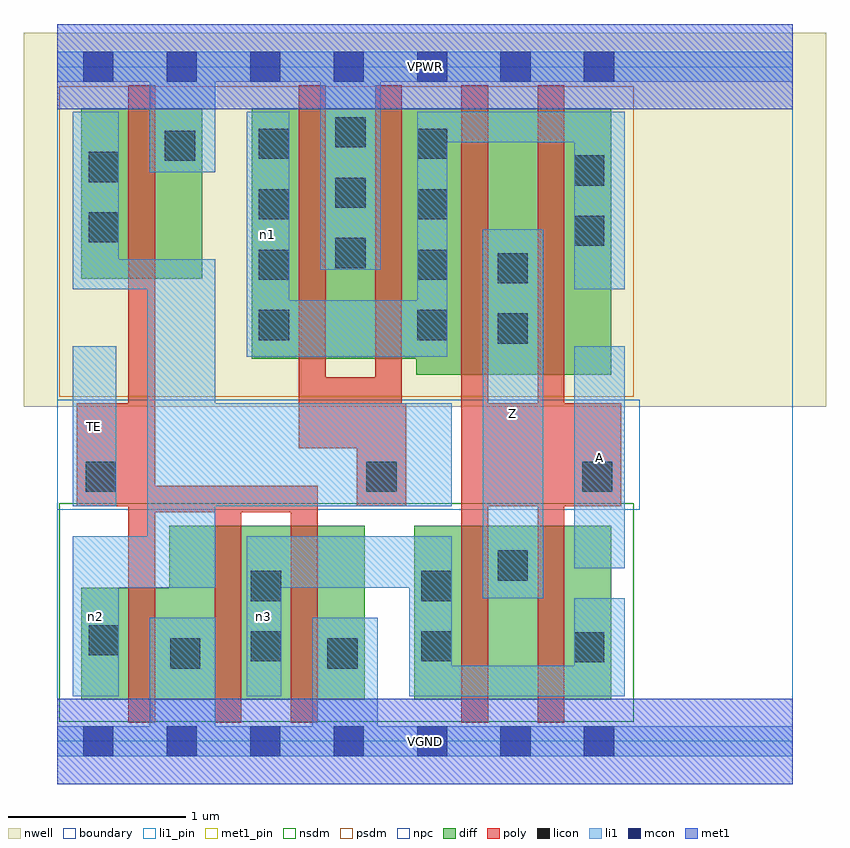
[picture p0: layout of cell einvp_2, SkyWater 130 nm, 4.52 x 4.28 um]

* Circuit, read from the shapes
.subckt einvp_2 A TE VGND VPWR Z n1 n2 n3
XM1 VGND TE n2 VSUBS sky130_fd_pr__nfet_01v8 w=0.63 l=0.15
XM2 n3 TE VGND VSUBS sky130_fd_pr__nfet_01v8 w=0.98 l=0.15 m=2
XM3 Z A n3 VSUBS sky130_fd_pr__nfet_01v8 w=0.98 l=0.15 m=2
XM4 VPWR TE n2 n4 sky130_fd_pr__pfet_01v8 w=0.96 l=0.15
XM5 VPWR n2 n1 n4 sky130_fd_pr__pfet_01v8 w=1.41 l=0.15 m=2
XM6 Z A n1 n4 sky130_fd_pr__pfet_01v8 w=1.5 l=0.15 m=2
.ends

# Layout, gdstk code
import gdstk
lib = gdstk.Library(unit=1e-6, precision=1e-09)
def R(c, l, rs):  # rectangles x0, y0, x1, y1
    for r in rs: c.add(gdstk.rectangle(r[:2], r[2:], *l))
def A(c, l, x, y, w, h, nx, ny, dx, dy):  # array of equal rectangles
    R(c, l, [(x+i*dx, y+j*dy, x+i*dx+w, y+j*dy+h) for i in range(nx) for j in range(ny)])
nwell = (64, 20)
diff = (65, 20)
poly = (66, 20)
licon = (66, 44)
li1_pin = (67, 16)
li1 = (67, 20)
mcon = (67, 44)
met1_pin = (68, 16)
met1 = (68, 20)
nsdm = (93, 44)
psdm = (94, 20)
npc = (95, 20)
boundary = (235, 4)

einvp_2 = lib.new_cell('einvp_2')
R(einvp_2, nwell, [(-0.19,1.885,4.33,3.99), (0,1.885,4.14,3.99)])
R(einvp_2, diff, [(0.135,0.235,1.73,0.865), (0.63,0.235,1.73,1.215), (2.01,0.235,3.12,1.215), (2.02,2.065,3.12,3.565), (1.095,2.155,3.12,3.565), (0.135,2.605,0.815,3.565)])
R(einvp_2, poly, [(0.4,0.105,0.55,3.695), (0.885,0.105,1.035,1.44), (1.315,0.105,1.465,1.44), (2.275,0.105,2.425,3.695), (2.705,0.105,2.855,3.695), (0.4,1.29,1.465,1.44), (0.11,1.325,0.55,1.905), (1.685,1.325,1.94,2.05), (1.685,1.325,1.965,1.905), (1.79,1.325,1.94,3.695), (2.275,1.325,3.175,1.905), (1.36,1.65,1.51,3.695), (1.36,1.65,1.94,2.05)])
A(einvp_2, licon, 1.135, 2.26, 0.17, 0.17, 1, 4, 0, 0.34)
A(einvp_2, licon, 2.025, 2.26, 0.17, 0.17, 1, 4, 0, 0.34)
A(einvp_2, licon, 1.565, 2.665, 0.17, 0.17, 1, 3, 0, 0.34)
R(einvp_2, licon, [(0.635,0.41,0.805,0.58), (1.52,0.41,1.69,0.58), (2.91,0.445,3.08,0.615), (1.09,0.45,1.26,0.62), (2.05,0.45,2.22,0.62), (0.175,0.485,0.345,0.655), (1.09,0.79,1.26,0.96), (2.05,0.79,2.22,0.96), (2.48,0.905,2.65,1.075), (0.16,1.405,0.33,1.575), (1.74,1.405,1.91,1.575), (2.955,1.405,3.125,1.575), (2.48,2.24,2.65,2.41), (2.48,2.58,2.65,2.75), (2.91,2.79,3.08,2.96), (0.175,2.81,0.345,2.98), (2.91,3.13,3.08,3.3), (0.175,3.15,0.345,3.32), (0.605,3.27,0.775,3.44)])
R(einvp_2, li1_pin, [(2.395,0.805,2.735,2.885), (2.91,0.975,3.195,2.225), (0.085,1.325,0.33,2.225)])
R(einvp_2, li1, [(0,-0.085,4.14,0.085), (0.52,-0.085,0.89,0.695), (1.435,-0.085,1.805,0.695), (0.085,0.255,0.345,1.155), (1.065,0.255,1.26,1.155), (1.98,0.255,3.195,0.425), (1.98,0.255,2.22,1.155), (2.91,0.255,3.195,0.805), (2.395,0.805,2.735,2.885), (0.085,0.865,0.89,1.155), (0.505,0.865,0.89,2.715), (1.065,0.865,2.22,1.155), (2.91,0.975,3.195,2.225), (0.085,1.325,0.33,2.225), (0.505,1.325,2.22,1.905), (1.065,2.165,1.305,3.545), (1.065,2.165,2.195,2.485), (2.025,2.165,2.195,3.545), (0.085,2.545,0.345,3.545), (0.085,2.545,0.89,2.715), (2.91,2.545,3.195,3.545), (1.48,2.655,1.82,3.885), (0.52,3.205,0.89,3.885), (2.025,3.375,3.195,3.545), (0,3.715,4.14,3.885)])
A(einvp_2, mcon, 0.145, -0.085, 0.17, 0.17, 7, 2, 0.47, 3.8)
R(einvp_2, met1_pin, [(0,-0.24,4.14,0.24), (0,3.56,4.14,4.04)])
R(einvp_2, met1, [(0,-0.24,4.14,0.24), (0,3.56,4.14,4.04)])
R(einvp_2, nsdm, [(0.01,0.11,3.245,1.34)])
R(einvp_2, psdm, [(0.01,1.94,3.245,3.69)])
R(einvp_2, npc, [(0,1.305,3.28,1.925)])
R(einvp_2, boundary, [(0,0,4.14,3.8)])
einvp_2.add(gdstk.Label('A', (3.052,1.6), layer=67, texttype=5))
einvp_2.add(gdstk.Label('TE', (0.207,1.775), layer=67, texttype=5))
einvp_2.add(gdstk.Label('Z', (2.565,1.845), layer=67, texttype=5))
einvp_2.add(gdstk.Label('n3', (1.162,0.705), layer=67, texttype=5))
einvp_2.add(gdstk.Label('n2', (0.215,0.705), layer=67, texttype=5))
einvp_2.add(gdstk.Label('n1', (1.185,2.855), layer=67, texttype=5))
einvp_2.add(gdstk.Label('VPWR', (2.07,3.8), layer=68, texttype=5))
einvp_2.add(gdstk.Label('VGND', (2.07,0), layer=68, texttype=5))
einvp_2.add(gdstk.Label('A', (3.052,1.6), layer=67, texttype=16))
einvp_2.add(gdstk.Label('TE', (0.207,1.775), layer=67, texttype=16))
einvp_2.add(gdstk.Label('Z', (2.565,1.845), layer=67, texttype=16))
einvp_2.add(gdstk.Label('VPWR', (2.07,3.8), layer=68, texttype=16))
einvp_2.add(gdstk.Label('VGND', (2.07,0), layer=68, texttype=16))

lib.write_gds('einvp_2.gds')
